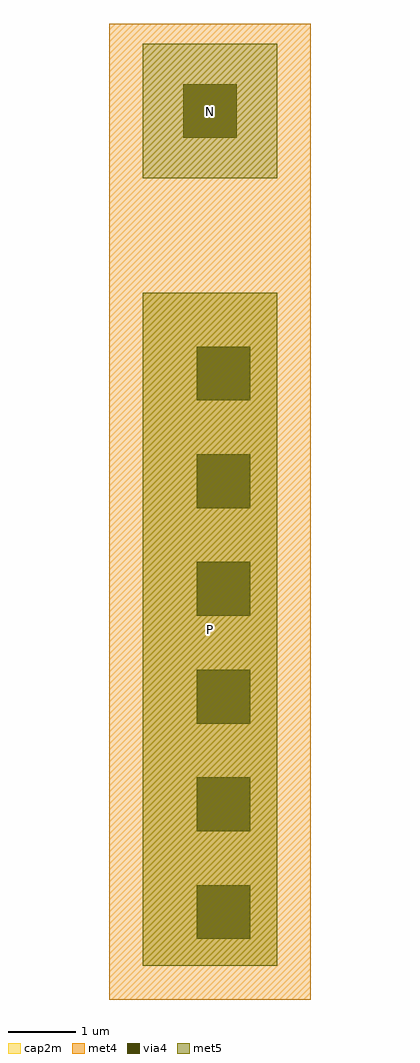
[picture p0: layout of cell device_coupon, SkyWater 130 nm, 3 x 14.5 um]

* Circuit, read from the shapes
.subckt device_coupon N P
XC1 P N sky130_fd_pr__cap_mim_m3_2 w=2 l=10
.ends

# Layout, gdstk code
import gdstk
lib = gdstk.Library(unit=1e-6, precision=1e-09)
def R(c, l, rs):  # rectangles x0, y0, x1, y1
    for r in rs: c.add(gdstk.rectangle(r[:2], r[2:], *l))
def A(c, l, x, y, w, h, nx, ny, dx, dy):  # array of equal rectangles
    R(c, l, [(x+i*dx, y+j*dy, x+i*dx+w, y+j*dy+h) for i in range(nx) for j in range(ny)])
met4 = (71, 20)
via4 = (71, 44)
met5 = (72, 20)
cap2m = (97, 44)

device_coupon = lib.new_cell('device_coupon')
R(device_coupon, met4, [(-2.5,-0.5,0.5,14)])
A(device_coupon, via4, -1.2, 0.4, 0.8, 0.8, 1, 6, 0, 1.6)
R(device_coupon, via4, [(-1.4,12.3,-0.6,13.1)])
R(device_coupon, met5, [(-2,0,0,10), (-2,11.7,0,13.7)])
R(device_coupon, cap2m, [(-2,0,0,10)])
device_coupon.add(gdstk.Label('N', (-1,12.7), layer=72, texttype=5))
device_coupon.add(gdstk.Label('P', (-1,5), layer=72, texttype=5))

lib.write_gds('device_coupon.gds')
